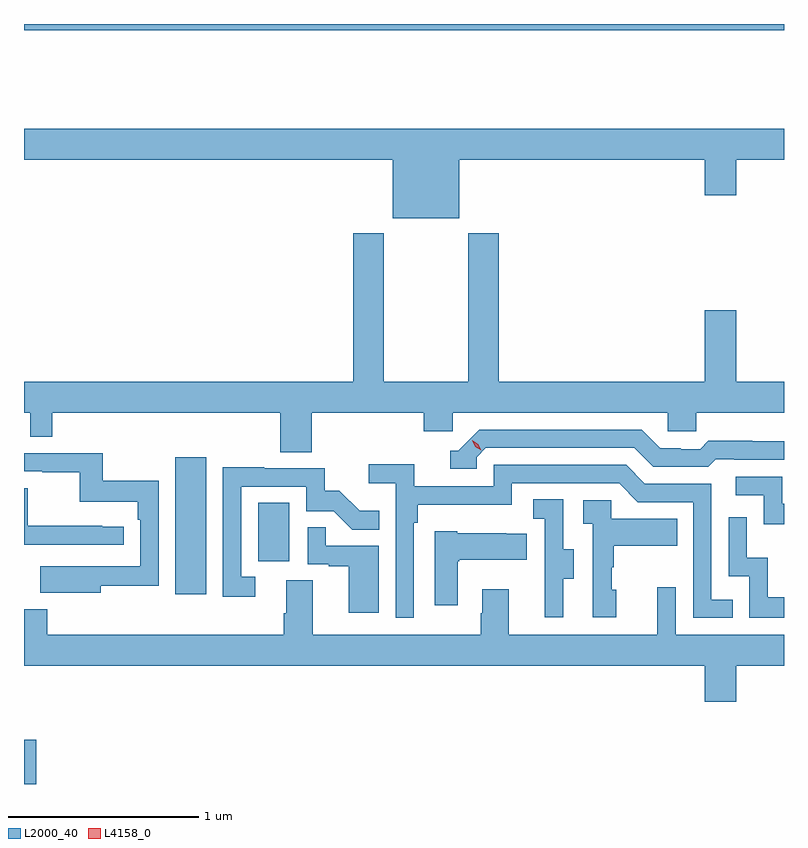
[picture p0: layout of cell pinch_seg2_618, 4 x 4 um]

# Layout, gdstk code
import gdstk
lib = gdstk.Library(unit=1e-6, precision=1e-09)
def R(c, l, rs):  # rectangles x0, y0, x1, y1
    for r in rs: c.add(gdstk.rectangle(r[:2], r[2:], *l))
def P(c, l, *ps):  # polygons
    for p in ps: c.add(gdstk.Polygon(p, *l))
L2000_40 = (2000, 40)
L4158_0 = (4158, 0)

pinch_seg2_618 = lib.new_cell('pinch_seg2_618')
R(pinch_seg2_618, L2000_40, [(1024.56,616.378,1024.625,616.612), (1025.357,617.376,1025.518,618.097), (1025.792,617.55,1025.956,617.857), (1024.56,620.344,1028.56,620.378)])
P(pinch_seg2_618, L2000_40, [(1026.85,619.664),(1028.144,619.664),(1028.144,619.476),(1028.308,619.476),(1028.308,619.664),(1028.56,619.664),(1028.56,619.828),(1024.56,619.828),(1024.56,619.664),(1026.5,619.664),(1026.5,619.355),(1026.85,619.355)],
  [(1024.56,618.332),(1024.593,618.332),(1024.593,618.205),(1024.709,618.205),(1024.709,618.332),(1025.909,618.332),(1025.909,618.124),(1026.074,618.124),(1026.074,618.332),(1026.665,618.332),(1026.665,618.234),(1026.816,618.234),(1026.816,618.332),(1027.947,618.332),(1027.947,618.234),(1028.097,618.234),(1028.097,618.332),(1028.56,618.332),(1028.56,618.496),(1028.308,618.496),(1028.308,618.871),(1028.144,618.871),(1028.144,618.496),(1027.058,618.496),(1027.058,619.276),(1026.898,619.276),(1026.898,618.496),(1026.453,618.496),(1026.453,619.276),(1026.293,619.276),(1026.293,618.496),(1024.56,618.496)],
  [(1026.942,618.099),(1026.99,618.147),(1027.773,618.147),(1027.872,618.048),(1028.161,618.048),(1028.2,618.087),(1028.299,618.087),(1028.299,618.084),(1028.56,618.084),(1028.56,618.181),(1028.394,618.181),(1028.394,618.184),(1028.161,618.184),(1028.119,618.141),(1028.016,618.141),(1028.016,618.144),(1027.909,618.144),(1027.81,618.243),(1026.957,618.243),(1026.846,618.132),(1026.803,618.132),(1026.803,618.036),(1026.942,618.036)],
  [(1024.963,617.422),(1025.268,617.422),(1025.268,617.974),(1024.975,617.974),(1024.975,618.12),(1024.56,618.12),(1024.56,618.024),(1024.657,618.024),(1024.657,618.019),(1024.853,618.019),(1024.853,617.864),(1025.159,617.864),(1025.159,617.768),(1025.172,617.768),(1025.172,617.523),(1024.859,617.523),(1024.859,617.524),(1024.645,617.524),(1024.645,617.384),(1024.963,617.384)],
  [(1026.612,617.753),(1026.632,617.753),(1026.632,617.849),(1027.128,617.849),(1027.128,617.961),(1027.692,617.961),(1027.791,617.862),(1028.082,617.862),(1028.082,617.253),(1028.291,617.253),(1028.291,617.349),(1028.178,617.349),(1028.178,617.958),(1027.828,617.958),(1027.729,618.057),(1027.032,618.057),(1027.032,617.946),(1026.614,617.946),(1026.614,618.062),(1026.375,618.062),(1026.375,617.96),(1026.516,617.96),(1026.516,617.253),(1026.612,617.253)],
  [(1025.776,617.469),(1025.703,617.469),(1025.703,617.943),(1026.045,617.943),(1026.045,617.814),(1026.189,617.814),(1026.287,617.716),(1026.431,617.716),(1026.431,617.815),(1026.327,617.815),(1026.22,617.922),(1026.144,617.922),(1026.144,618.039),(1025.825,618.039),(1025.825,618.044),(1025.607,618.044),(1025.607,617.364),(1025.776,617.364)],
  [(1028.56,617.853),(1028.55,617.853),(1028.55,617.994),(1028.307,617.994),(1028.307,617.898),(1028.454,617.898),(1028.454,617.745),(1028.56,617.745)],
  [(1025.086,617.733),(1024.973,617.733),(1024.973,617.738),(1024.58,617.738),(1024.58,617.934),(1024.56,617.934),(1024.56,617.637),(1025.086,617.637)],
  [(1027.399,617.458),(1027.453,617.458),(1027.453,617.613),(1027.398,617.613),(1027.398,617.876),(1027.239,617.876),(1027.239,617.773),(1027.302,617.773),(1027.302,617.469),(1027.301,617.469),(1027.301,617.256),(1027.399,617.256)],
  [(1027.678,617.4),(1027.653,617.4),(1027.653,617.519),(1027.663,617.519),(1027.663,617.633),(1027.997,617.633),(1027.997,617.773),(1027.65,617.773),(1027.65,617.871),(1027.503,617.871),(1027.503,617.747),(1027.554,617.747),(1027.554,617.256),(1027.678,617.256)],
  [(1028.56,617.362),(1028.474,617.362),(1028.474,617.57),(1028.364,617.57),(1028.364,617.782),(1028.268,617.782),(1028.268,617.472),(1028.376,617.472),(1028.376,617.253),(1028.56,617.253)],
  [(1026.427,617.631),(1026.149,617.631),(1026.149,617.729),(1026.054,617.729),(1026.054,617.535),(1026.165,617.535),(1026.165,617.523),(1026.269,617.523),(1026.269,617.28),(1026.427,617.28)],
  [(1026.844,617.551),(1026.852,617.551),(1026.852,617.558),(1027.205,617.558),(1027.205,617.695),(1027.097,617.695),(1027.097,617.698),(1026.84,617.698),(1026.84,617.707),(1026.722,617.707),(1026.722,617.319),(1026.844,617.319)],
  [(1028.308,617),(1028.56,617),(1028.56,617.164),(1027.989,617.164),(1027.989,617.413),(1027.892,617.413),(1027.892,617.164),(1027.111,617.164),(1027.111,617.404),(1026.971,617.404),(1026.971,617.276),(1026.964,617.276),(1026.964,617.164),(1026.079,617.164),(1026.079,617.45),(1025.939,617.45),(1025.939,617.276),(1025.927,617.276),(1025.927,617.164),(1024.682,617.164),(1024.682,617.299),(1024.56,617.299),(1024.56,617),(1028.144,617),(1028.144,616.812),(1028.308,616.812)])
P(pinch_seg2_618, L4158_0, [(1026.967,618.134),(1026.936,618.153),(1026.92,618.186),(1026.92,618.186),(1026.92,618.186),(1026.951,618.167),(1026.967,618.134),(1026.967,618.134)])

lib.write_gds('pinch_seg2_618.gds')
